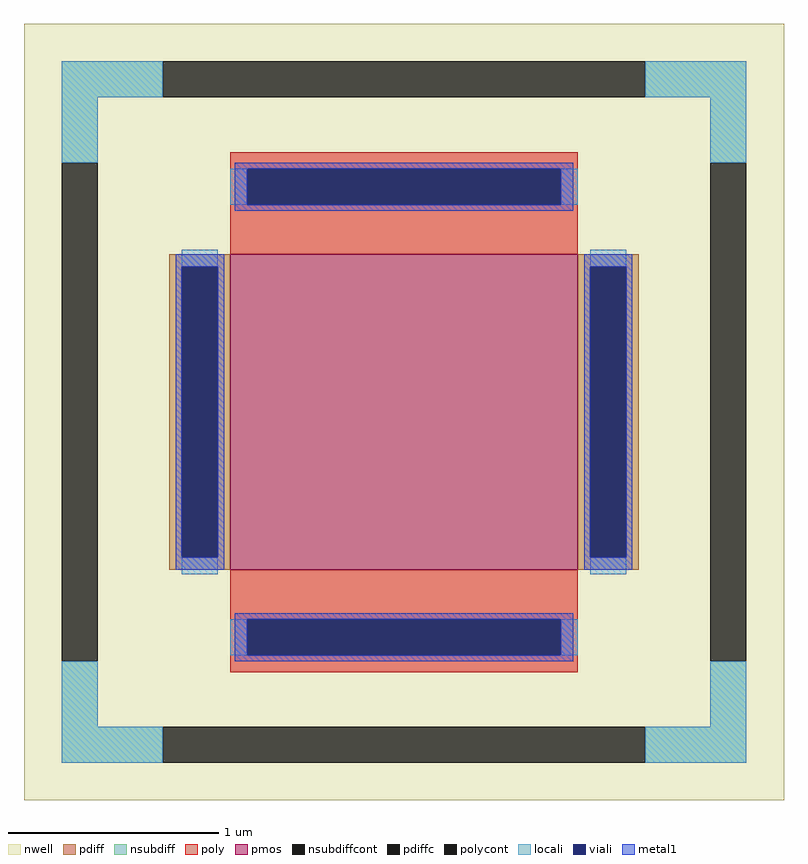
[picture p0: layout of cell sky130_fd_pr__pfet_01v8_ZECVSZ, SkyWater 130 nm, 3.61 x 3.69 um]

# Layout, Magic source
magic
tech sky130A
magscale 1 2
<< nwell >>
rect -361 -369 361 369
<< pmos >>
rect -165 -150 165 150
<< pdiff >>
rect -223 138 -165 150
rect -223 -138 -211 138
rect -177 -138 -165 138
rect -223 -150 -165 -138
rect 165 138 223 150
rect 165 -138 177 138
rect 211 -138 223 138
rect 165 -150 223 -138
<< pdiffc >>
rect -211 -138 -177 138
rect 177 -138 211 138
<< nsubdiff >>
rect -325 299 -229 333
rect 229 299 325 333
rect -325 237 -291 299
rect 291 237 325 299
rect -325 -299 -291 -237
rect 291 -299 325 -237
rect -325 -333 -229 -299
rect 229 -333 325 -299
<< nsubdiffcont >>
rect -229 299 229 333
rect -325 -237 -291 237
rect 291 -237 325 237
rect -229 -333 229 -299
<< poly >>
rect -165 231 165 247
rect -165 197 -149 231
rect 149 197 165 231
rect -165 150 165 197
rect -165 -197 165 -150
rect -165 -231 -149 -197
rect 149 -231 165 -197
rect -165 -247 165 -231
<< polycont >>
rect -149 197 149 231
rect -149 -231 149 -197
<< locali >>
rect -325 299 -229 333
rect 229 299 325 333
rect -325 237 -291 299
rect 291 237 325 299
rect -165 197 -149 231
rect 149 197 165 231
rect -211 138 -177 154
rect -211 -154 -177 -138
rect 177 138 211 154
rect 177 -154 211 -138
rect -165 -231 -149 -197
rect 149 -231 165 -197
rect -325 -299 -291 -237
rect 291 -299 325 -237
rect -325 -333 -229 -299
rect 229 -333 325 -299
<< viali >>
rect -149 197 149 231
rect -211 -138 -177 138
rect 177 -138 211 138
rect -149 -231 149 -197
<< metal1 >>
rect -161 231 161 237
rect -161 197 -149 231
rect 149 197 161 231
rect -161 191 161 197
rect -217 138 -171 150
rect -217 -138 -211 138
rect -177 -138 -171 138
rect -217 -150 -171 -138
rect 171 138 217 150
rect 171 -138 177 138
rect 211 -138 217 138
rect 171 -150 217 -138
rect -161 -197 161 -191
rect -161 -231 -149 -197
rect 149 -231 161 -197
rect -161 -237 161 -231
<< properties >>
string FIXED_BBOX -308 -316 308 316
string gencell sky130_fd_pr__pfet_01v8
string library sky130
string parameters w 1.5 l 1.65 m 1 nf 1 diffcov 100 polycov 100 guard 1 glc 1 grc 1 gtc 1 gbc 1 tbcov 100 rlcov 100 topc 1 botc 1 poverlap 0 doverlap 1 lmin 0.15 wmin 0.42 compatible {sky130_fd_pr__pfet_01v8  sky130_fd_pr__pfet_01v8_lvt sky130_fd_pr__pfet_01v8_hvt  sky130_fd_pr__pfet_g5v0d10v5} full_metal 1 viasrc 100 viadrn 100 viagate 100 viagb 0 viagr 0 viagl 0 viagt 0
<< end >>
